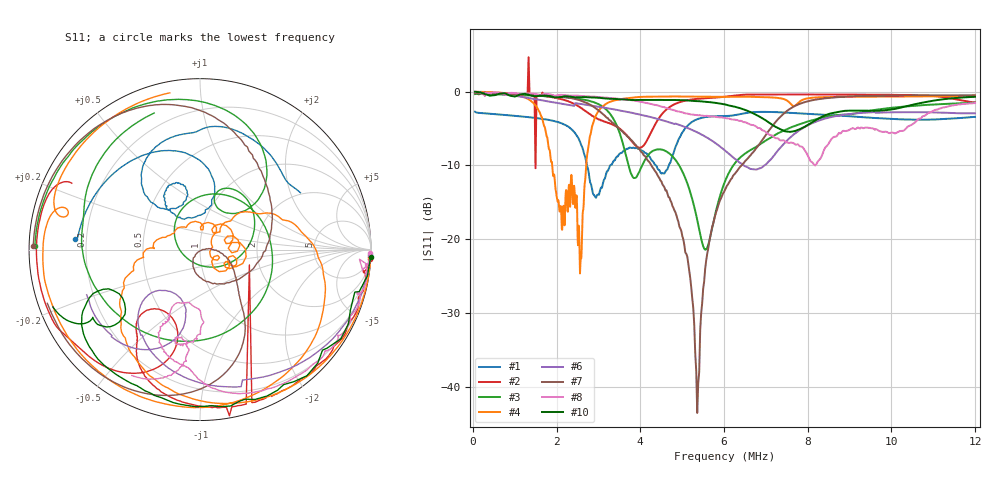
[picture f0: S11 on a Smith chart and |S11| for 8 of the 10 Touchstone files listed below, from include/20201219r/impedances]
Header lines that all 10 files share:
# Hz S RI R 50
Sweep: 50 kHz to 12 MHz
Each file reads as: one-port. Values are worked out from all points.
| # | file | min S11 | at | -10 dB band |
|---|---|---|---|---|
| 1 | 8536.s1p | -14.4 dB | 2.943 MHz | 556.7 kHz wide |
| 2 | bluebard.s1p | -10.4 dB | 1.496 MHz | 1.831 kHz wide |
| 3 | diasonics_50.s1p | -21.4 dB | 5.551 MHz | 1.294 MHz wide |
| 4 | duc2m.s1p | -24.7 dB | 2.56 MHz | 812.4 kHz wide |
| 5 | hp2121.s1p | -21.1 dB | 5.314 MHz | 2.912 MHz wide |
| 6 | probeA.s1p | -10.6 dB | 6.76 MHz | 491.9 kHz wide |
| 7 | probeB.s1p | -43.6 dB | 5.361 MHz | 2.154 MHz wide |
| 8 | probeC.s1p | -10.0 dB | 8.183 MHz | 35.87 Hz wide |
| 9 | probeD.s1p | -5.4 dB | 8.654 MHz | - |
| 10 | probeE.s1p | -5.4 dB | 7.579 MHz | - |
